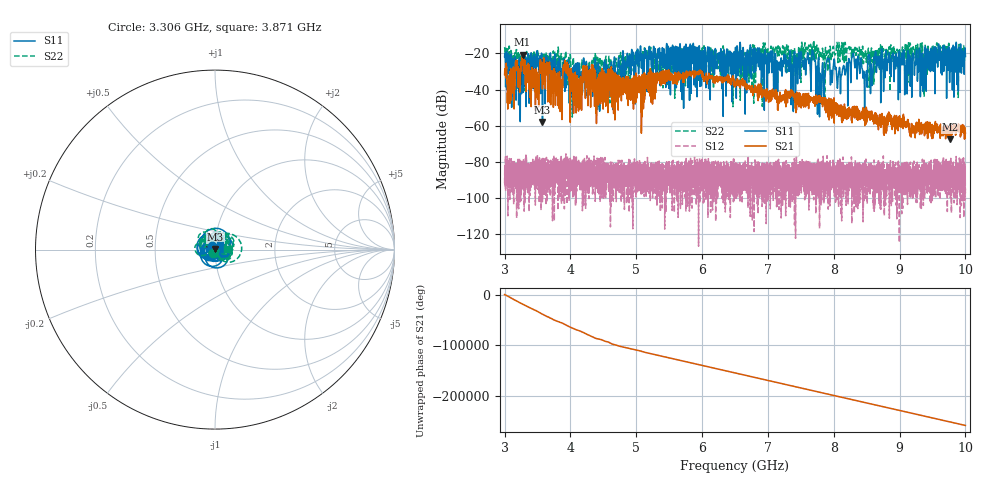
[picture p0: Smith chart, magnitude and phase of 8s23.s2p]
!Agilent Technologies,E8363B,MY43030572,A.06.04.32
!Agilent E8363B: A.06.04.32
!Date: Tuesday, June 07, 2011 09:11:15
!Correction: S11(Full 2 Port(1,2)) S21(Full 2 Port(1,2)) S12(Full 2 Port(1,2)) S22(Full 2 Port(1,2))
!S2P File: Measurements: S11, S21, S12, S22:
# Hz S  dB  R 50
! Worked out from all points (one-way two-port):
!   6401 points, 3 GHz to 10 GHz, reference 50 ohm
!   highest |S21| = -20.69 dB at 3.272 GHz (marker M1); lowest = -67.6 dB at 9.774 GHz (marker M2)
!   lowest |S11| = -58.1 dB at 3.575 GHz (marker M3), VSWR 1.00, Z = 50.1 + j0.0752 ohm
!   |S11| at or under -10 dB: start of sweep to end of sweep
!   |S22| runs from -55.2 to -12.8 dB; largest |S21 - S12| = 0.092
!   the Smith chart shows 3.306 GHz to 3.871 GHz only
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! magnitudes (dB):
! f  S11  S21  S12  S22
! 3 GHz  -21.8  -31.7  -92.0  -16.5
! 3.072 GHz  -21.0  -37.7  -78.3  -16.3
! 3.272 GHz  -21.2  -20.7  -87.5  -18.8
! 3.491 GHz  -18.9  -30.6  -93.7  -23.1
! 3.575 GHz  -58.1  -37.3  -102.2  -22.0
! 3.839 GHz  -25.7  -34.0  -89.3  -21.3
! 3.928 GHz  -36.1  -29.6  -86.1  -18.8
! 4.167 GHz  -30.5  -40.8  -84.0  -24.8
! 4.399 GHz  -32.2  -35.6  -83.2  -24.2
! 4.47 GHz  -29.8  -34.8  -92.5  -24.6
! 4.529 GHz  -25.1  -37.5  -81.8  -26.8
! 5.334 GHz  -18.5  -34.3  -81.4  -25.4
! 6.5 GHz  -22.6  -37.4  -87.1  -27.3
! 7.667 GHz  -20.6  -45.3  -84.7  -16.9
! 7.818 GHz  -35.8  -44.8  -87.7  -22.0
! 7.908 GHz  -22.6  -46.1  -97.8  -28.8
! 8.079 GHz  -29.5  -53.1  -90.9  -14.4
! 8.308 GHz  -22.5  -55.2  -101.6  -18.4
! 8.475 GHz  -34.6  -51.4  -90.8  -20.9
! 8.834 GHz  -20.6  -55.8  -82.9  -21.3
! 9.774 GHz  -19.3  -67.6  -79.4  -17.9
! 10 GHz  -21.7  -64.2  -95.0  -21.6
